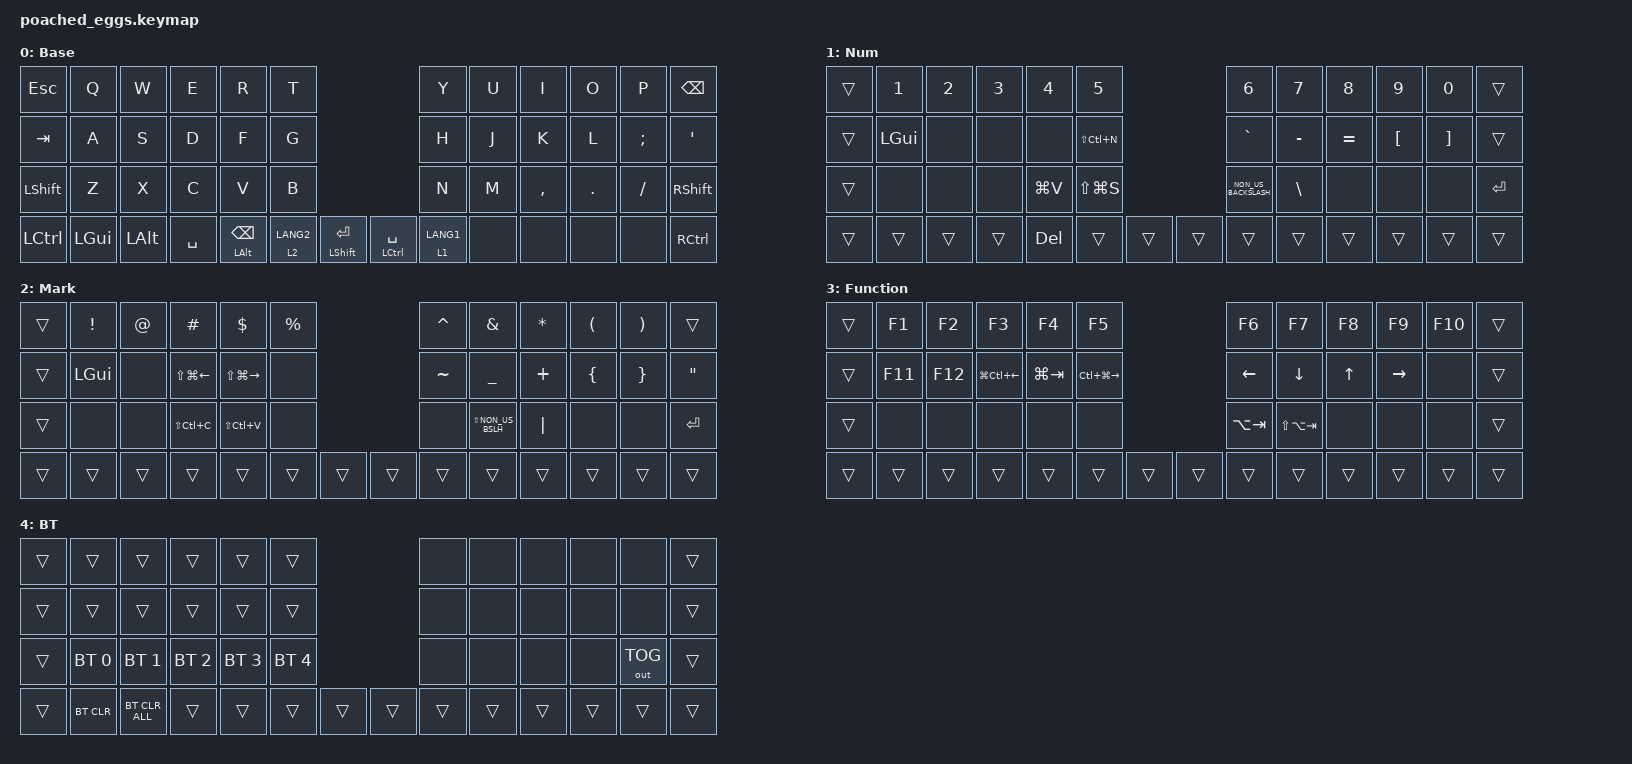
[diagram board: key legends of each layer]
#include <behaviors.dtsi>
#include <dt-bindings/zmk/bt.h>
#include <dt-bindings/zmk/keys.h>
#include <dt-bindings/zmk/outputs.h>

/ {
    macros {
        // "00"（KP_N0 を 2 回送る）numpad 用マクロ

        num_00: num_00 {
            compatible = "zmk,behavior-macro";
            #binding-cells = <0>;
            bindings = <&kp KP_N0 &kp KP_N0>;
        };
    };

    combos {
        compatible = "zmk,combos";

        lang1 {
            bindings = <&kp LANG1>;
            key-positions = <19 20>;
        };

        lang2 {
            bindings = <&kp LANG2>;
            key-positions = <16 15>;
        };

        bt {
            bindings = <&mo 4>;
            key-positions = <34 33>;
        };

        unlock {
            bindings = <&studio_unlock>;
            key-positions = <0 1 11 10>;
        };
    };

    keymap {
        compatible = "zmk,keymap";

        default_layer {
            display-name = "Base";
            bindings = <
&kp ESC    &kp Q         &kp W         &kp E      &kp R                   &kp T                                           &kp Y        &kp U  &kp I      &kp O    &kp P     &kp BACKSPACE
&kp TAB    &kp A         &kp S         &kp D      &kp F                   &kp G                                           &kp H        &kp J  &kp K      &kp L    &kp SEMI  &kp SQT
&kp LSHFT  &kp Z         &kp X         &kp C      &kp V                   &kp B                                           &kp N        &kp M  &kp COMMA  &kp DOT  &kp FSLH  &kp RSHFT
&kp LCTRL  &kp LEFT_GUI  &kp LEFT_ALT  &kp SPACE  &mt LEFT_ALT BACKSPACE  &lt 2 LANG2  &mt LSHIFT ENTER  &mt LCTRL SPACE  &lt 1 LANG1  &none  &none      &none    &none     &kp RCTRL
            >;
        };

        layer_1 {
            display-name = "Num";
            bindings = <
&trans  &kp N1        &kp N2  &kp N3  &kp N4     &kp N5                         &kp N6                &kp N7     &kp N8     &kp N9    &kp N0    &trans
&trans  &kp LEFT_GUI  &none   &none   &none      &kp LS(LC(N))                  &kp GRAVE             &kp MINUS  &kp EQUAL  &kp LBKT  &kp RBKT  &trans
&trans  &none         &none   &none   &kp LG(V)  &kp LS(LG(S))                  &kp NON_US_BACKSLASH  &kp BSLH   &none      &none     &none     &kp ENTER
&trans  &trans        &trans  &trans  &kp DEL    &trans         &trans  &trans  &trans                &trans     &trans     &trans    &trans    &trans
            >;
        };

        layer_2 {
            display-name = "Mark";
            bindings = <
&trans  &kp EXCL      &kp AT  &kp HASH          &kp DLLR           &kp PRCNT                  &kp CARET  &kp AMPS             &kp STAR  &kp LPAR  &kp RPAR  &trans
&trans  &kp LEFT_GUI  &none   &kp LS(LG(LEFT))  &kp LS(LG(RIGHT))  &none                      &kp TILDE  &kp UNDER            &kp PLUS  &kp LBRC  &kp RBRC  &kp DQT
&trans  &none         &none   &kp LS(LC(C))     &kp LS(LC(V))      &none                      &none      &kp LS(NON_US_BSLH)  &kp PIPE  &none     &none     &kp ENTER
&trans  &trans        &trans  &trans            &trans             &trans     &trans  &trans  &trans     &trans               &trans    &trans    &trans    &trans
            >;
        };

        layer_3 {
            display-name = "Function";
            bindings = <
&trans  &kp F1   &kp F2   &kp F3                  &kp F4       &kp F5                                   &kp F6          &kp F7           &kp F8        &kp F9           &kp F10  &trans
&trans  &kp F11  &kp F12  &kp LG(LC(LEFT_ARROW))  &kp LG(TAB)  &kp LC(LG(RIGHT_ARROW))                  &kp LEFT_ARROW  &kp DOWN_ARROW   &kp UP_ARROW  &kp RIGHT_ARROW  &none    &trans
&trans  &none    &none    &none                   &none        &none                                    &kp LA(TAB)     &kp LS(LA(TAB))  &none         &none            &none    &trans
&trans  &trans   &trans   &trans                  &trans       &trans                   &trans  &trans  &trans          &trans           &trans        &trans           &trans   &trans
            >;
        };

        layer_4 {
            display-name = "BT";
            bindings = <
&trans  &trans        &trans          &trans        &trans        &trans                        &none   &none   &none   &none   &none         &trans
&trans  &trans        &trans          &trans        &trans        &trans                        &none   &none   &none   &none   &none         &trans
&trans  &bt BT_SEL 0  &bt BT_SEL 1    &bt BT_SEL 2  &bt BT_SEL 3  &bt BT_SEL 4                  &none   &none   &none   &none   &out OUT_TOG  &trans
&trans  &bt BT_CLR    &bt BT_CLR_ALL  &trans        &trans        &trans        &trans  &trans  &trans  &trans  &trans  &trans  &trans        &trans
            >;
        };
    };

    conditional_layers {
        compatible = "zmk,conditional-layers";

        layer_3 {
            if-layers = <1 2>;
            then-layer = <3>;
        };
    };
};
